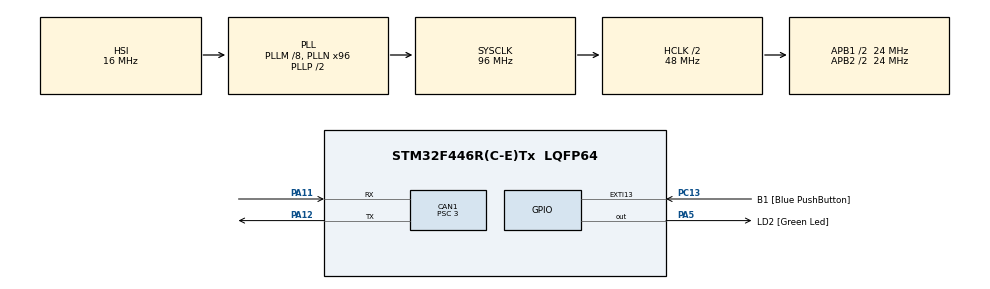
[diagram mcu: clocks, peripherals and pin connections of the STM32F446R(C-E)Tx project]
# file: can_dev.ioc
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CAN1.BS1=CAN_BS1_13TQ
CAN1.BS2=CAN_BS2_2TQ
CAN1.CalculateBaudRate=500000
CAN1.CalculateTimeBit=2000
CAN1.CalculateTimeQuantum=125.0
CAN1.NART=DISABLE
CAN1.Prescaler=3
CAN1.SJW=CAN_SJW_1TQ
Mcu.Family=STM32F4
Mcu.Name=STM32F446R(C-E)Tx
Mcu.Package=LQFP64
NVIC.CAN1_RX0_IRQn=true\:0\:0\:false\:false\:true\:true\:true\:true
NVIC.PriorityGroup=NVIC_PRIORITYGROUP_0
PA11.Mode=CAN_Activate
PA11.Signal=CAN1_RX
PA12.Mode=CAN_Activate
PA12.Signal=CAN1_TX
PA13.GPIO_Label=TMS
PA13.Signal=SYS_JTMS-SWDIO
PA14.GPIO_Label=TCK
PA14.Signal=SYS_JTCK-SWCLK
PA2.GPIO_Label=USART_TX
PA2.Signal=USART2_TX
PA3.GPIO_Label=USART_RX
PA3.Signal=USART2_RX
PA5.GPIO_Label=LD2 [Green Led]
PA5.Signal=GPIO_Output
PB3.GPIO_Label=SWO
PB3.Signal=SYS_JTDO-SWO
PC13.GPIO_Label=B1 [Blue PushButton]
PC13.GPIO_ModeDefaultEXTI=GPIO_MODE_IT_FALLING
PC13.Signal=GPXTI13
PC14-OSC32_IN.Signal=RCC_OSC32_IN
PC15-OSC32_OUT.Signal=RCC_OSC32_OUT
PH0-OSC_IN.Mode=HSE-External-Oscillator
PH0-OSC_IN.Signal=RCC_OSC_IN
PH1-OSC_OUT.Mode=HSE-External-Oscillator
PH1-OSC_OUT.Signal=RCC_OSC_OUT
ProjectManager.HeapSize=0x200
ProjectManager.StackSize=0x400
ProjectManager.TargetToolchain=STM32CubeIDE
RCC.AHBCLKDivider=RCC_SYSCLK_DIV2
RCC.AHBFreq_Value=48000000
RCC.APB1CLKDivider=RCC_HCLK_DIV2
RCC.APB1Freq_Value=24000000
RCC.APB1TimFreq_Value=48000000
RCC.APB2CLKDivider=RCC_HCLK_DIV2
RCC.APB2Freq_Value=24000000
RCC.APB2TimFreq_Value=48000000
RCC.CortexFreq_Value=48000000
RCC.FLatency-AdvancedSettings=FLASH_LATENCY_1
RCC.HCLKFreq_Value=48000000
RCC.HSE_VALUE=8000000
RCC.HSI_VALUE=16000000
RCC.LSE_VALUE=32768
RCC.PLLM=8
RCC.PLLN=96
RCC.SYSCLKFreq_VALUE=96000000
RCC.SYSCLKSource=RCC_SYSCLKSOURCE_PLLCLK
RCC.USBFreq_Value=96000000
RCC.VCOOutputFreq_Value=192000000
board=NUCLEO-F446RE

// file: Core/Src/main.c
/* USER CODE BEGIN Header */
/**
  ******************************************************************************
  * @file           : main.c
  * @brief          : Main program body
  ******************************************************************************
  * @attention
  *
  * Copyright (c) 2025 STMicroelectronics.
  * All rights reserved.
  *
  * This software is licensed under terms that can be found in the LICENSE file
  * in the root directory of this software component.
  * If no LICENSE file comes with this software, it is provided AS-IS.
  *
  ******************************************************************************
  */
/* USER CODE END Header */
#include "main.h"

/* USER CODE BEGIN PM */
#define ID_LIST_LEN 3
/* USER CODE END PM */

CAN_HandleTypeDef hcan1;

/* USER CODE BEGIN PV */
CANDevice_t canDV;
uint16_t rxIdList[ID_LIST_LEN] = {0x000, 0x110, 0x120};
uint32_t txID = 0x4c0;
uint8_t txData[8] = {0x12, 0x0f, 0x23, 0x33, 0x23};
uint8_t txLen = 5;
/* USER CODE END PV */

void SystemClock_Config(void);
static void MX_GPIO_Init(void);
static void MX_CAN1_Init(void);
/* USER CODE BEGIN PFP */
void can_rx_callback(CANDevice_t *device);
/* USER CODE END PFP */

int main(void)
{

  /* MCU Configuration--------------------------------------------------------*/

  /* Reset of all peripherals, Initializes the Flash interface and the Systick. */
  HAL_Init();

  /* Configure the system clock */
  SystemClock_Config();

  /* Initialize all configured peripherals */
  MX_GPIO_Init();
  MX_CAN1_Init();
  /* USER CODE BEGIN 2 */

  device_can_init(&canDV, &hcan1);
  can_config_filter(&canDV, rxIdList, ID_LIST_LEN);
  link_rx_callback(&canDV, can_rx_callback);

  /* USER CODE END 2 */

  /* Infinite loop */
  /* USER CODE BEGIN WHILE */
  while (1)
  {
	  HAL_Delay(500);

	  transmit_can_data(&canDV, txID, txData, txLen);
    /* USER CODE END WHILE */

  }
}

void SystemClock_Config(void)
{
  RCC_OscInitTypeDef RCC_OscInitStruct = {0};
  RCC_ClkInitTypeDef RCC_ClkInitStruct = {0};

  /** Configure the main internal regulator output voltage
  */
  __HAL_RCC_PWR_CLK_ENABLE();
  __HAL_PWR_VOLTAGESCALING_CONFIG(PWR_REGULATOR_VOLTAGE_SCALE3);

  /** Initializes the RCC Oscillators according to the specified parameters
  * in the RCC_OscInitTypeDef structure.
  */
  RCC_OscInitStruct.OscillatorType = RCC_OSCILLATORTYPE_HSI;
  RCC_OscInitStruct.HSIState = RCC_HSI_ON;
  RCC_OscInitStruct.HSICalibrationValue = RCC_HSICALIBRATION_DEFAULT;
  RCC_OscInitStruct.PLL.PLLState = RCC_PLL_ON;
  RCC_OscInitStruct.PLL.PLLSource = RCC_PLLSOURCE_HSI;
  RCC_OscInitStruct.PLL.PLLM = 8;
  RCC_OscInitStruct.PLL.PLLN = 96;
  RCC_OscInitStruct.PLL.PLLP = RCC_PLLP_DIV2;
  RCC_OscInitStruct.PLL.PLLQ = 2;
  RCC_OscInitStruct.PLL.PLLR = 2;
  if (HAL_RCC_OscConfig(&RCC_OscInitStruct) != HAL_OK)
  {
    Error_Handler();
  }

  /** Initializes the CPU, AHB and APB buses clocks
  */
  RCC_ClkInitStruct.ClockType = RCC_CLOCKTYPE_HCLK|RCC_CLOCKTYPE_SYSCLK
                              |RCC_CLOCKTYPE_PCLK1|RCC_CLOCKTYPE_PCLK2;
  RCC_ClkInitStruct.SYSCLKSource = RCC_SYSCLKSOURCE_PLLCLK;
  RCC_ClkInitStruct.AHBCLKDivider = RCC_SYSCLK_DIV2;
  RCC_ClkInitStruct.APB1CLKDivider = RCC_HCLK_DIV2;
  RCC_ClkInitStruct.APB2CLKDivider = RCC_HCLK_DIV2;

  if (HAL_RCC_ClockConfig(&RCC_ClkInitStruct, FLASH_LATENCY_1) != HAL_OK)
  {
    Error_Handler();
  }
}

static void MX_CAN1_Init(void)
{

  hcan1.Instance = CAN1;
  hcan1.Init.Prescaler = 3;
  hcan1.Init.Mode = CAN_MODE_NORMAL;
  hcan1.Init.SyncJumpWidth = CAN_SJW_1TQ;
  hcan1.Init.TimeSeg1 = CAN_BS1_13TQ;
  hcan1.Init.TimeSeg2 = CAN_BS2_2TQ;
  hcan1.Init.TimeTriggeredMode = DISABLE;
  hcan1.Init.AutoBusOff = DISABLE;
  hcan1.Init.AutoWakeUp = DISABLE;
  hcan1.Init.AutoRetransmission = DISABLE;
  hcan1.Init.ReceiveFifoLocked = DISABLE;
  hcan1.Init.TransmitFifoPriority = DISABLE;
  if (HAL_CAN_Init(&hcan1) != HAL_OK)
  {
    Error_Handler();
  }

}

static void MX_GPIO_Init(void)
{
  GPIO_InitTypeDef GPIO_InitStruct = {0};

  /* GPIO Ports Clock Enable */
  __HAL_RCC_GPIOC_CLK_ENABLE();
  __HAL_RCC_GPIOH_CLK_ENABLE();
  __HAL_RCC_GPIOA_CLK_ENABLE();
  __HAL_RCC_GPIOB_CLK_ENABLE();

  /*Configure GPIO pin Output Level */
  HAL_GPIO_WritePin(LD2_GPIO_Port, LD2_Pin, GPIO_PIN_RESET);

  /*Configure GPIO pin : B1_Pin */
  GPIO_InitStruct.Pin = B1_Pin;
  GPIO_InitStruct.Mode = GPIO_MODE_IT_FALLING;
  GPIO_InitStruct.Pull = GPIO_NOPULL;
  HAL_GPIO_Init(B1_GPIO_Port, &GPIO_InitStruct);

  /*Configure GPIO pins : USART_TX_Pin USART_RX_Pin */
  GPIO_InitStruct.Pin = USART_TX_Pin|USART_RX_Pin;
  GPIO_InitStruct.Mode = GPIO_MODE_AF_PP;
  GPIO_InitStruct.Pull = GPIO_NOPULL;
  GPIO_InitStruct.Speed = GPIO_SPEED_FREQ_VERY_HIGH;
  GPIO_InitStruct.Alternate = GPIO_AF7_USART2;
  HAL_GPIO_Init(GPIOA, &GPIO_InitStruct);

  /*Configure GPIO pin : LD2_Pin */
  GPIO_InitStruct.Pin = LD2_Pin;
  GPIO_InitStruct.Mode = GPIO_MODE_OUTPUT_PP;
  GPIO_InitStruct.Pull = GPIO_NOPULL;
  GPIO_InitStruct.Speed = GPIO_SPEED_FREQ_LOW;
  HAL_GPIO_Init(LD2_GPIO_Port, &GPIO_InitStruct);

}

/* USER CODE BEGIN 4 */
void can_rx_callback(CANDevice_t *device) {
	uint8_t *tmp= device->rxBuffer;
	return;
}
/* USER CODE END 4 */

void Error_Handler(void)
{
  __disable_irq();
  while (1)
  {
  }
}
